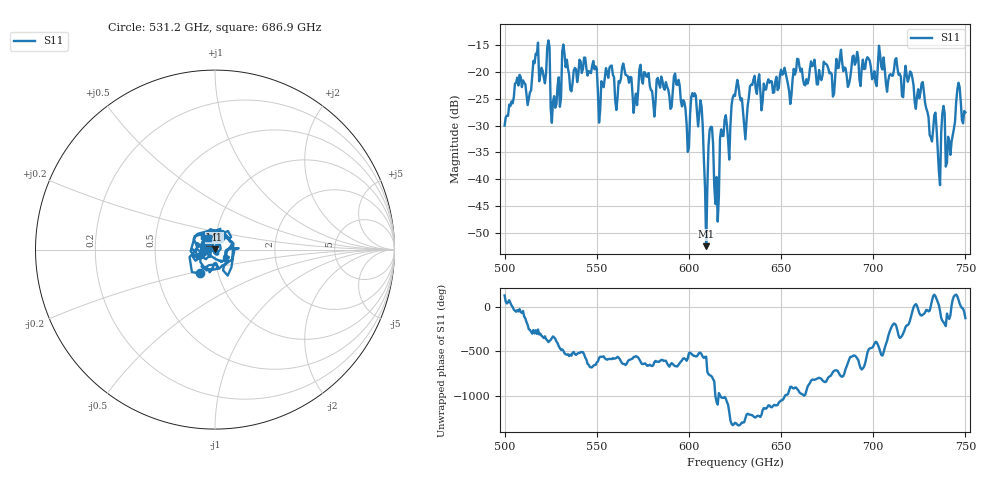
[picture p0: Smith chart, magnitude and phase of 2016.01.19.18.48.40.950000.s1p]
!Created with skrf (http://scikit-rf.org).
# GHz S RI R 50.0
!freq ReS11 ImS11
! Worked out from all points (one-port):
!   401 points, 500 GHz to 750 GHz, reference 50 ohm
!   lowest |S11| = -52.5 dB at 609.4 GHz (marker M1), VSWR 1.00, Z = 49.8 + j0.092 ohm
!   |S11| at or under -10 dB: start of sweep to end of sweep
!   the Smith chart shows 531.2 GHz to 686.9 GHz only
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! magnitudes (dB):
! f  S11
! 500 GHz  -30.0
! 507.5 GHz  -22.5
! 513.1 GHz  -24.9
! 516.9 GHz  -16.6
! 523.1 GHz  -15.5
! 526.2 GHz  -25.5
! 531.2 GHz  -16.2
! 562.5 GHz  -22.0
! 593.8 GHz  -22.4
! 599.4 GHz  -34.9
! 602.5 GHz  -24.6
! 606.2 GHz  -25.3
! 609.4 GHz  -52.5
! 611.9 GHz  -30.2
! 615 GHz  -39.6
! 618.1 GHz  -32.0
! 625 GHz  -24.5
! 630.6 GHz  -32.6
! 634.4 GHz  -22.4
! 656.2 GHz  -21.4
! 687.5 GHz  -21.1
! 718.8 GHz  -21.8
! 726.9 GHz  -21.9
! 735.6 GHz  -38.5
! 738.1 GHz  -26.3
! 740.6 GHz  -32.1
! 746.2 GHz  -22.0
! 750 GHz  -27.5
